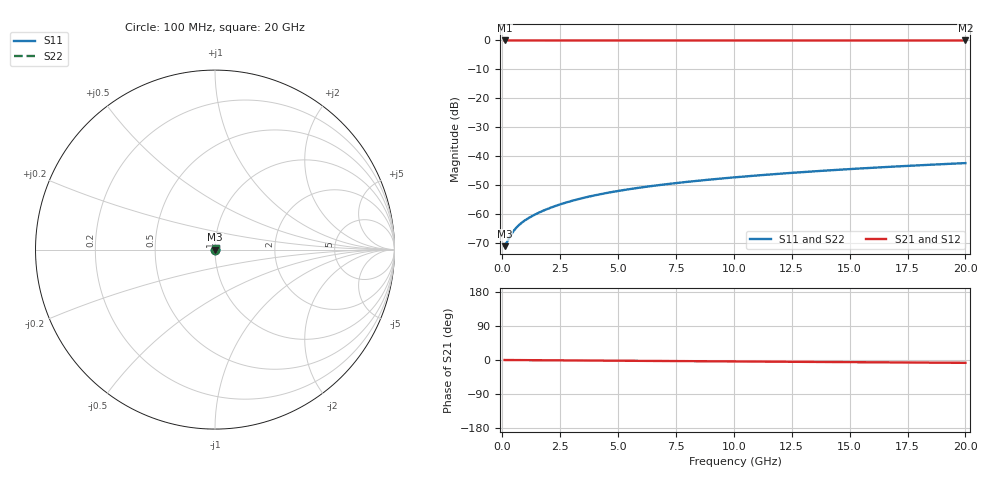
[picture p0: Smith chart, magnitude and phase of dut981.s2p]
! Touchstone file exported from HFSS 2026.1.0
!  File:  C:/ffzhzh/LocalFiles/Ansys_Project_Files/temp_train_TSV_981_1783187983_43440.aedt
!  Generated:  02:01:16 AM Jul  5, 2026
!  Design:  TSV
!  Project:  temp_train_TSV_981_1783187983_43440
! Variables:
!  h_bsmrdl = 2um
!  h_ox = 20um
!  h_rdl = 5um
!  h_sub = 78.52um
!  h_tmrdl = 5um
!  h_tsv = 78.52um
!  h_via = 3um
!  l_bsmrdl = 300um
!  l_sub = 412.58um
!  l_tmrdl = 200um
!  m_sub = 200um
!  pitch = 27.54um
!  r_tsv = 6.29um
!  s_tmrdl = 10um
!  w_bsmrdl = 18um
!  w_sub = 500um
!  w_tmrdl = 12um
!  x_tsv_center1 = 206um
!  x_tsv_center2 = 524um
!  x_tsv_center3 = 736um
!  x_tsv_center4 = 1054um
!  x_tsv_center5 = 1266um
!  x_tsv_center6 = 1584um
# GHz S MA R 50.000000
! Terminal data exported
! Port[1] = TSV1_1_T1
! Port[2] = TSV1_1_T2
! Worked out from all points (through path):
!   200 points, 100 MHz to 20 GHz, reference 50 ohm
!   highest |S21| = 0.00 dB at 100 MHz (marker M1); lowest = 0.0 dB at 20 GHz (marker M2)
!   group delay of S21, straight-line fit = 1.04 ps
!   lowest |S11| = -71.0 dB at 100 MHz (marker M3), VSWR 1.00, Z = 50 + j0.00877 ohm
!   |S11| at or under -10 dB: start of sweep to end of sweep
!   |S22| runs from -71.0 to -42.3 dB; largest |S21 - S12| = 4.4e-15
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0.1  0.0002812 18.2  0.9997 -0.0  0.9997 -0.0  0.0002812 18.2
! Gamma 0 0 0 0
! Port Impedance 50 0 50 0
0.3  0.0003921 39.5  0.9997 -0.1  0.9997 -0.1  0.0003921 39.5
0.4  0.0004578 44.4  0.9997 -0.2  0.9997 -0.2  0.0004578 44.4
0.5  0.0005219 47.4  0.9996 -0.2  0.9996 -0.2  0.0005219 47.4
0.6  0.0005826 49.5  0.9996 -0.2  0.9996 -0.2  0.0005826 49.5
0.8  0.0006937 52.3  0.9996 -0.3  0.9996 -0.3  0.0006937 52.3
1.1  0.0008433 55.2  0.9995 -0.4  0.9995 -0.4  0.0008433 55.2
1.3  0.0009374 56.9  0.9995 -0.5  0.9995 -0.5  0.0009374 56.9
1.6  0.001075 58.9  0.9994 -0.6  0.9994 -0.6  0.001075 58.9
2.1  0.001302 61.5  0.9994 -0.8  0.9994 -0.8  0.001302 61.5
2.8  0.001613 63.8  0.9993 -1.1  0.9993 -1.1  0.001613 63.8
3.5  0.001915 65.1  0.9992 -1.3  0.9992 -1.3  0.001915 65.1
4.2  0.002205 65.9  0.9992 -1.6  0.9992 -1.6  0.002205 65.9
5  0.002523 66.5  0.9991 -1.9  0.9991 -1.9  0.002523 66.5
5.8  0.002828 67.0  0.999 -2.2  0.999 -2.2  0.002828 67.0
6.8  0.003197 67.4  0.9989 -2.6  0.9989 -2.6  0.003197 67.4
8.3  0.003734 68.0  0.9988 -3.1  0.9988 -3.1  0.003734 68.0
10.1  0.004361 68.5  0.9987 -3.8  0.9987 -3.8  0.004361 68.5
11.7  0.004909 68.8  0.9986 -4.4  0.9986 -4.4  0.00491 68.7
13.4  0.005485 68.9  0.9985 -5.1  0.9985 -5.1  0.005485 68.9
16.7  0.006579 68.8  0.9983 -6.3  0.9983 -6.3  0.006579 68.8
20  0.007635 68.3  0.9981 -7.5  0.9981 -7.5  0.007635 68.3
